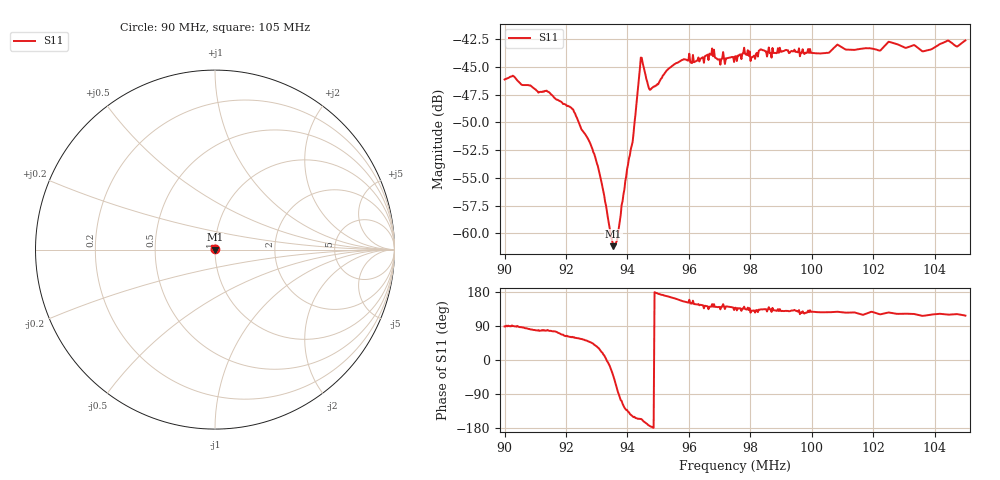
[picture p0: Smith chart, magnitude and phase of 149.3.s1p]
# HZ S RI R 50
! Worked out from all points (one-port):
!   505 points, 90 MHz to 105 MHz, reference 50 ohm
!   lowest |S11| = -61.2 dB at 93.54 MHz (marker M1), VSWR 1.00, Z = 50.1 - j0.0595 ohm
!   |S11| at or under -10 dB: start of sweep to end of sweep
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9e7  0.000121 0.00494
9.029762e7  4.51e-05 0.00511
9.187501e7  0.00152 0.00357
9.223215e7  0.00184 0.00312
9.285715e7  0.00173 0.00167
9.309525e7  0.00163 0.000864
9.354168e7  0.000642 -0.000594
9.363096e7  0.000344 -0.000842
9.375001e7  -0.000169 -0.00111
9.416668e7  -0.0022 -0.00134
9.443454e7  -0.00565 -0.00258
9.449406e7  -0.00549 -0.00207
9.467263e7  -0.00459 -0.000681
9.476192e7  -0.00445 -0.000325
9.562502e7  -0.00553 0.002
9.675597e7  -0.00576 0.00366
9.696431e7  -0.00466 0.00392
9.750002e7  -0.00466 0.00421
9.785717e7  -0.00442 0.00463
9.80655e7  -0.00402 0.00477
9.836312e7  -0.00467 0.00488
9.937503e7  -0.00429 0.00504
1.0125e8  -0.00388 0.00551
1.022024e8  -0.00343 0.00573
1.025298e8  -0.0042 0.00597
1.03125e8  -0.00366 0.00586
1.036608e8  -0.00301 0.00592
1.05e8  -0.00338 0.0066
